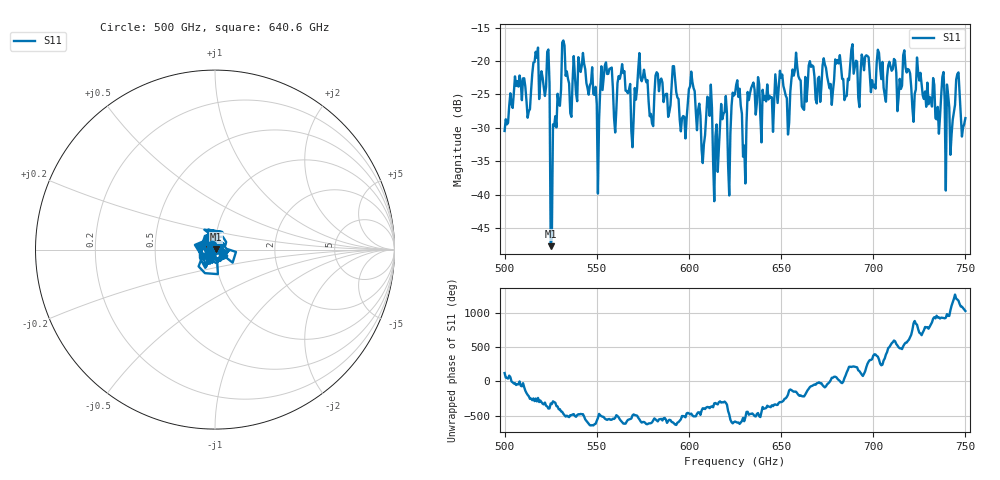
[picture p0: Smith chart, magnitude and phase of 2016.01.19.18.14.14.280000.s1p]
!Created with skrf (http://scikit-rf.org).
# GHz S RI R 50.0
!freq ReS11 ImS11
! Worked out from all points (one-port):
!   401 points, 500 GHz to 750 GHz, reference 50 ohm
!   lowest |S11| = -47.7 dB at 525 GHz (marker M1), VSWR 1.01, Z = 50.3 + j0.251 ohm
!   |S11| at or under -10 dB: start of sweep to end of sweep
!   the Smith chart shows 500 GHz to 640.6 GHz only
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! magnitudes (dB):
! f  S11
! 500 GHz  -30.5
! 506.9 GHz  -23.0
! 513.1 GHz  -27.5
! 516.9 GHz  -18.6
! 523.1 GHz  -18.6
! 525 GHz  -47.7
! 526.2 GHz  -29.5
! 531.2 GHz  -17.2
! 542.5 GHz  -18.8
! 550 GHz  -26.5
! 553.8 GHz  -22.5
! 562.5 GHz  -22.7
! 570 GHz  -28.7
! 573.8 GHz  -22.5
! 579.4 GHz  -27.9
! 583.1 GHz  -21.9
! 593.8 GHz  -25.5
! 601.9 GHz  -23.1
! 607.5 GHz  -35.3
! 611.2 GHz  -28.2
! 614.4 GHz  -31.2
! 625 GHz  -24.9
! 630 GHz  -32.6
! 634.4 GHz  -23.6
! 656.2 GHz  -21.3
! 687.5 GHz  -20.6
! 718.8 GHz  -21.2
! 750 GHz  -28.5
